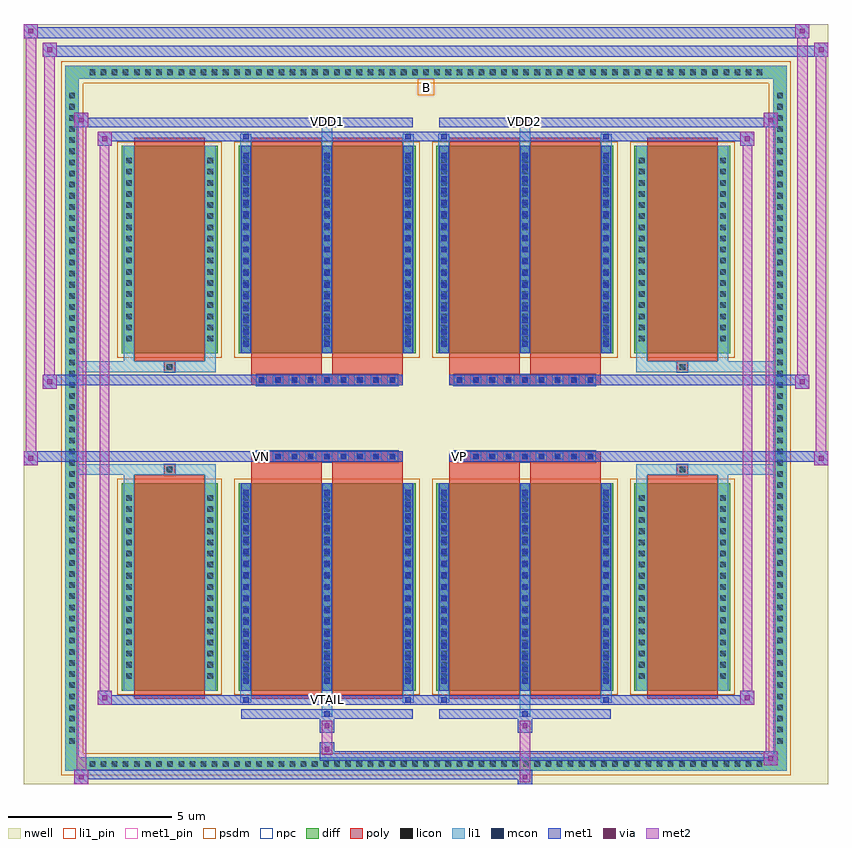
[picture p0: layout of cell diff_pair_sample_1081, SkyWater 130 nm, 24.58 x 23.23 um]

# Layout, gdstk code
import gdstk
lib = gdstk.Library(unit=1e-6, precision=5e-09)
def R(c, l, rs):  # rectangles x0, y0, x1, y1
    for r in rs: c.add(gdstk.rectangle(r[:2], r[2:], *l))
def A(c, l, x, y, w, h, nx, ny, dx, dy):  # array of equal rectangles
    R(c, l, [(x+i*dx, y+j*dy, x+i*dx+w, y+j*dy+h) for i in range(nx) for j in range(ny)])
def P(c, l, *ps):  # polygons
    for p in ps: c.add(gdstk.Polygon(p, *l))
nwell = (64, 20)
diff = (65, 20)
poly = (66, 20)
licon = (66, 44)
li1_pin = (67, 16)
li1 = (67, 20)
mcon = (67, 44)
met1_pin = (68, 16)
met1 = (68, 20)
via = (68, 44)
met2 = (69, 20)
psdm = (94, 20)
npc = (95, 20)

diff_pair_sample_1081 = lib.new_cell('diff_pair_sample_1081')
R(diff_pair_sample_1081, nwell, [(-12.29,-11.18,12.29,12.05), (-9.61,-9.37,-0.01,-0.805), (0.01,-9.37,9.61,-0.805), (-9.61,0.805,-0.01,9.37), (0.01,0.805,9.61,9.37)])
A(diff_pair_sample_1081, diff, -10.405, -10.78, 0.41, 0.41, 61, 2, 0.34, 21.15)
A(diff_pair_sample_1081, diff, -11.02, -10.065, 0.41, 0.41, 1, 59, 0, 0.34)
A(diff_pair_sample_1081, diff, 10.61, -10.065, 0.41, 0.41, 1, 59, 0, 0.34)
R(diff_pair_sample_1081, diff, [(-10.405,-10.78,10.405,-10.37), (-11.02,-10.065,-10.61,10.065), (10.61,-10.065,11.02,10.065), (-9.3,-8.325,-6.37,-1.985), (-5.73,-8.325,-0.32,-1.985), (0.32,-8.325,5.73,-1.985), (6.37,-8.325,9.3,-1.985), (-9.3,1.985,-6.37,8.325), (-5.73,1.985,-0.32,8.325), (0.32,1.985,5.73,8.325), (6.37,1.985,9.3,8.325), (-10.405,10.37,10.405,10.78)])
P(diff_pair_sample_1081, diff, [(11.02,10.78),(-11.02,10.78),(-11.02,-10.37),(-10.61,-10.37),(-10.61,10.37),(10.61,10.37),(10.61,-10.37),(-10.61,-10.37),(-11.02,-10.37),(-11.02,-10.78),(11.02,-10.78)])
A(diff_pair_sample_1081, poly, -5.19, -1.335, 0.33, 0.33, 9, 2, 0.5, 2.34)
A(diff_pair_sample_1081, poly, 0.86, -1.335, 0.33, 0.33, 9, 2, 0.5, 2.34)
R(diff_pair_sample_1081, poly, [(-8.91,-8.575,-6.76,-1.735), (-5.34,-8.575,-3.19,-1.735), (-2.86,-8.575,-0.71,-1.735), (0.71,-8.575,2.86,-1.735), (3.19,-8.575,5.34,-1.735), (6.76,-8.575,8.91,-1.735), (-8,-1.735,-7.67,-1.405), (-8,-1.735,-7.67,-1.405), (-5.34,-1.735,-3.19,-1.335), (-2.86,-1.735,-0.71,-1.335), (0.71,-1.735,2.86,-1.335), (3.19,-1.735,5.34,-1.335), (7.67,-1.735,8,-1.405), (7.67,-1.735,8,-1.405), (-5.34,-1.335,-0.71,-1.005), (0.71,-1.335,5.34,-1.005), (-5.34,1.005,-0.71,1.335), (0.71,1.005,5.34,1.335), (-5.34,1.335,-3.19,1.735), (-2.86,1.335,-0.71,1.735), (0.71,1.335,2.86,1.735), (3.19,1.335,5.34,1.735), (-8,1.405,-7.67,1.735), (-8,1.405,-7.67,1.735), (7.67,1.405,8,1.735), (7.67,1.405,8,1.735), (-8.91,1.735,-6.76,8.575), (-5.34,1.735,-3.19,8.575), (-2.86,1.735,-0.71,8.575), (0.71,1.735,2.86,8.575), (3.19,1.735,5.34,8.575), (6.76,1.735,8.91,8.575)])
A(diff_pair_sample_1081, licon, -10.285, -10.66, 0.17, 0.17, 61, 2, 0.34, 21.15)
A(diff_pair_sample_1081, licon, -10.9, -9.945, 0.17, 0.17, 1, 59, 0, 0.34)
A(diff_pair_sample_1081, licon, 10.73, -9.945, 0.17, 0.17, 1, 59, 0, 0.34)
A(diff_pair_sample_1081, licon, -9.16, -7.96, 0.17, 0.17, 1, 17, 0, 0.34)
A(diff_pair_sample_1081, licon, -6.68, -7.96, 0.17, 0.17, 1, 17, 0, 0.34)
A(diff_pair_sample_1081, licon, -5.59, -7.96, 0.17, 0.17, 3, 17, 2.48, 0.34)
A(diff_pair_sample_1081, licon, 0.46, -7.96, 0.17, 0.17, 3, 17, 2.48, 0.34)
A(diff_pair_sample_1081, licon, 6.51, -7.96, 0.17, 0.17, 1, 17, 0, 0.34)
A(diff_pair_sample_1081, licon, 8.99, -7.96, 0.17, 0.17, 1, 17, 0, 0.34)
A(diff_pair_sample_1081, licon, -5.11, -1.255, 0.17, 0.17, 9, 2, 0.5, 2.34)
A(diff_pair_sample_1081, licon, 0.94, -1.255, 0.17, 0.17, 9, 2, 0.5, 2.34)
A(diff_pair_sample_1081, licon, -9.16, 2.35, 0.17, 0.17, 1, 17, 0, 0.34)
A(diff_pair_sample_1081, licon, -6.68, 2.35, 0.17, 0.17, 1, 17, 0, 0.34)
A(diff_pair_sample_1081, licon, -5.59, 2.35, 0.17, 0.17, 3, 17, 2.48, 0.34)
A(diff_pair_sample_1081, licon, 0.46, 2.35, 0.17, 0.17, 3, 17, 2.48, 0.34)
A(diff_pair_sample_1081, licon, 6.51, 2.35, 0.17, 0.17, 1, 17, 0, 0.34)
A(diff_pair_sample_1081, licon, 8.99, 2.35, 0.17, 0.17, 1, 17, 0, 0.34)
R(diff_pair_sample_1081, licon, [(-7.92,-1.655,-7.75,-1.485), (7.75,-1.655,7.92,-1.485), (-7.92,1.485,-7.75,1.655), (7.75,1.485,7.92,1.655)])
R(diff_pair_sample_1081, li1_pin, [(-0.25,9.87,0.25,10.37)])
A(diff_pair_sample_1081, li1, -10.365, -10.74, 0.33, 0.33, 61, 2, 0.34, 21.15)
A(diff_pair_sample_1081, li1, -10.98, -10.025, 0.33, 0.33, 1, 59, 0, 0.34)
A(diff_pair_sample_1081, li1, 10.65, -10.025, 0.33, 0.33, 1, 59, 0, 0.34)
A(diff_pair_sample_1081, li1, -5.67, -8.325, 0.33, 6.34, 3, 2, 2.48, 10.31)
A(diff_pair_sample_1081, li1, 0.38, -8.325, 0.33, 6.34, 3, 2, 2.48, 10.31)
A(diff_pair_sample_1081, li1, -5.59, -8.12, 0.17, 0.17, 3, 17, 2.48, 0.36)
A(diff_pair_sample_1081, li1, -5.59, -8.12, 0.17, 5.93, 3, 2, 2.48, 10.31)
A(diff_pair_sample_1081, li1, 0.46, -8.12, 0.17, 0.17, 3, 17, 2.48, 0.36)
A(diff_pair_sample_1081, li1, 0.46, -8.12, 0.17, 5.93, 3, 2, 2.48, 10.31)
A(diff_pair_sample_1081, li1, -9.24, -8.04, 0.33, 0.33, 1, 17, 0, 0.34)
A(diff_pair_sample_1081, li1, -6.76, -8.04, 0.33, 0.33, 1, 17, 0, 0.34)
A(diff_pair_sample_1081, li1, -5.67, -8.04, 0.33, 0.33, 3, 17, 2.48, 0.34)
A(diff_pair_sample_1081, li1, 0.38, -8.04, 0.33, 0.33, 3, 17, 2.48, 0.34)
A(diff_pair_sample_1081, li1, 6.43, -8.04, 0.33, 0.33, 1, 17, 0, 0.34)
A(diff_pair_sample_1081, li1, 8.91, -8.04, 0.33, 0.33, 1, 17, 0, 0.34)
A(diff_pair_sample_1081, li1, -5.19, -1.335, 0.33, 0.33, 9, 2, 0.5, 2.34)
A(diff_pair_sample_1081, li1, 0.86, -1.335, 0.33, 0.33, 9, 2, 0.5, 2.34)
A(diff_pair_sample_1081, li1, -5.59, 2.19, 0.17, 0.17, 3, 17, 2.48, 0.36)
A(diff_pair_sample_1081, li1, 0.46, 2.19, 0.17, 0.17, 3, 17, 2.48, 0.36)
A(diff_pair_sample_1081, li1, -9.24, 2.27, 0.33, 0.33, 1, 17, 0, 0.34)
A(diff_pair_sample_1081, li1, -6.76, 2.27, 0.33, 0.33, 1, 17, 0, 0.34)
A(diff_pair_sample_1081, li1, -5.67, 2.27, 0.33, 0.33, 3, 17, 2.48, 0.34)
A(diff_pair_sample_1081, li1, 0.38, 2.27, 0.33, 0.33, 3, 17, 2.48, 0.34)
A(diff_pair_sample_1081, li1, 6.43, 2.27, 0.33, 0.33, 1, 17, 0, 0.34)
A(diff_pair_sample_1081, li1, 8.91, 2.27, 0.33, 0.33, 1, 17, 0, 0.34)
R(diff_pair_sample_1081, li1, [(-11.02,-10.78,-10.61,-10.37), (-11.02,-10.78,-10.61,-10.37), (-10.61,-10.78,10.61,-10.37), (10.61,-10.78,11.02,-10.37), (10.61,-10.78,11.02,-10.37), (-11.02,-10.37,-10.61,10.37), (10.61,-10.37,11.02,10.37), (-3.19,-9.13,-2.86,-8.325), (-3.11,-9.13,-2.94,-8.96), (2.86,-9.13,3.19,-8.325), (2.94,-9.13,3.11,-8.96), (-5.67,-8.7,-5.34,-8.325), (-5.59,-8.7,-5.42,-8.53), (-0.71,-8.7,-0.38,-8.325), (-0.63,-8.7,-0.46,-8.53), (0.38,-8.7,0.71,-8.325), (0.46,-8.7,0.63,-8.53), (5.34,-8.7,5.67,-8.325), (5.42,-8.7,5.59,-8.53), (-9.24,-8.325,-8.91,-1.985), (-6.76,-8.325,-6.43,-1.985), (6.43,-8.325,6.76,-1.985), (8.91,-8.325,9.24,-1.985), (-9.24,-1.985,-8.91,-1.405), (-6.76,-1.985,-6.43,-1.405), (6.43,-1.985,6.76,-1.405), (8.91,-1.985,9.24,-1.405), (-11.02,-1.735,-8,-1.405), (-9.24,-1.735,-8,-1.405), (-8,-1.735,-7.67,-1.405), (-7.67,-1.735,-6.43,-1.405), (6.43,-1.735,7.67,-1.405), (7.67,-1.735,8,-1.405), (7.67,-1.735,11.02,-1.405), (8,-1.735,9.24,-1.405), (-11.02,1.405,-8,1.735), (-9.24,1.405,-8,1.735), (-9.24,1.405,-8.91,1.985), (-8,1.405,-7.67,1.735), (-7.67,1.405,-6.43,1.735), (-6.76,1.405,-6.43,1.985), (6.43,1.405,7.67,1.735), (6.43,1.405,6.76,1.985), (7.67,1.405,8,1.735), (7.67,1.405,11.02,1.735), (8,1.405,9.24,1.735), (8.91,1.405,9.24,1.985), (-9.24,1.985,-8.91,8.325), (-6.76,1.985,-6.43,8.325), (6.43,1.985,6.76,8.325), (8.91,1.985,9.24,8.325), (-5.67,8.325,-5.34,8.7), (-3.19,8.325,-2.86,9.13), (-0.71,8.325,-0.38,8.7), (0.38,8.325,0.71,8.7), (2.86,8.325,3.19,9.13), (5.34,8.325,5.67,8.7), (-5.59,8.53,-5.42,8.7), (-0.63,8.53,-0.46,8.7), (0.46,8.53,0.63,8.7), (5.42,8.53,5.59,8.7), (-3.11,8.96,-2.94,9.13), (2.94,8.96,3.11,9.13), (-11.02,10.37,-10.61,10.78), (-11.02,10.37,-10.61,10.78), (-10.61,10.37,10.61,10.78), (10.61,10.37,11.02,10.78), (10.61,10.37,11.02,10.78)])
A(diff_pair_sample_1081, mcon, -5.59, -8.12, 0.17, 0.17, 3, 17, 2.48, 0.36)
A(diff_pair_sample_1081, mcon, 0.46, -8.12, 0.17, 0.17, 3, 17, 2.48, 0.36)
A(diff_pair_sample_1081, mcon, -5.11, -1.255, 0.17, 0.17, 9, 2, 0.5, 2.34)
A(diff_pair_sample_1081, mcon, 0.94, -1.255, 0.17, 0.17, 9, 2, 0.5, 2.34)
A(diff_pair_sample_1081, mcon, -5.59, 2.19, 0.17, 0.17, 3, 17, 2.48, 0.36)
A(diff_pair_sample_1081, mcon, 0.46, 2.19, 0.17, 0.17, 3, 17, 2.48, 0.36)
R(diff_pair_sample_1081, mcon, [(-3.11,-9.13,-2.94,-8.96), (2.94,-9.13,3.11,-8.96), (-5.59,-8.7,-5.42,-8.53), (-0.63,-8.7,-0.46,-8.53), (0.46,-8.7,0.63,-8.53), (5.42,-8.7,5.59,-8.53), (-5.59,8.53,-5.42,8.7), (-0.63,8.53,-0.46,8.7), (0.46,8.53,0.63,8.7), (5.42,8.53,5.59,8.7), (-3.11,8.96,-2.94,9.13), (2.94,8.96,3.11,9.13)])
R(diff_pair_sample_1081, met1_pin, [(-3.16,-8.74,-2.89,-8.47), (-5.16,-1.295,-4.89,-1.025), (0.89,-1.295,1.16,-1.025), (-3.16,8.92,-2.89,9.19), (2.89,8.92,3.16,9.19)])
A(diff_pair_sample_1081, met1, -5.65, -8.325, 0.29, 6.34, 3, 2, 2.48, 10.31)
A(diff_pair_sample_1081, met1, 0.4, -8.325, 0.29, 6.34, 3, 2, 2.48, 10.31)
A(diff_pair_sample_1081, met1, -5.65, -8.18, 0.29, 0.29, 3, 17, 2.48, 0.36)
A(diff_pair_sample_1081, met1, 0.4, -8.18, 0.29, 0.29, 3, 17, 2.48, 0.36)
A(diff_pair_sample_1081, met1, -5.17, -1.315, 0.29, 0.29, 9, 2, 0.5, 2.34)
A(diff_pair_sample_1081, met1, 0.88, -1.315, 0.29, 0.29, 9, 2, 0.5, 2.34)
A(diff_pair_sample_1081, met1, -5.65, 2.13, 0.29, 0.29, 3, 17, 2.48, 0.36)
A(diff_pair_sample_1081, met1, 0.4, 2.13, 0.29, 0.29, 3, 17, 2.48, 0.36)
R(diff_pair_sample_1081, met1, [(-10.75,-11.18,-10.32,-10.75), (2.81,-11.18,3.24,-10.75), (-10.75,-11.04,3.24,-10.75), (10.32,-10.61,10.75,-10.18), (-3.24,-10.47,10.75,-10.18), (-3.24,-10.33,-2.81,-9.9), (-3.24,-9.62,-2.81,-9.19), (2.81,-9.62,3.24,-9.19), (-5.65,-9.19,-0.4,-8.9), (-3.17,-9.19,-2.88,-8.9), (0.4,-9.19,5.65,-8.9), (2.88,-9.19,3.17,-8.9), (-10.04,-8.76,-9.61,-8.33), (-10.04,-8.76,-5.65,-8.47), (-5.65,-8.76,-5.36,-8.47), (-5.65,-8.76,-0.4,-8.47), (-0.69,-8.76,-0.4,-8.47), (-0.4,-8.76,0.4,-8.47), (0.4,-8.76,0.69,-8.47), (0.4,-8.76,5.65,-8.47), (5.36,-8.76,5.65,-8.47), (5.65,-8.76,10.04,-8.47), (9.61,-8.76,10.04,-8.33), (-12.29,-1.435,-11.86,-1.005), (11.86,-1.435,12.29,-1.005), (-12.29,-1.335,-0.71,-1.005), (-5.34,-1.335,-0.71,-1.005), (0.71,-1.335,5.34,-1.005), (0.71,-1.335,12.29,-1.005), (-11.72,0.905,-11.29,1.335), (11.29,0.905,11.72,1.335), (-11.72,1.005,-5.34,1.335), (-5.34,1.005,-0.71,1.335), (0.71,1.005,5.34,1.335), (5.34,1.005,11.72,1.335), (-10.04,8.33,-9.61,8.76), (9.61,8.33,10.04,8.76), (-10.04,8.47,-5.65,8.76), (-5.65,8.47,-5.36,8.76), (-5.65,8.47,-0.4,8.76), (-0.69,8.47,-0.4,8.76), (-0.4,8.47,0.4,8.76), (0.4,8.47,0.69,8.76), (0.4,8.47,5.65,8.76), (5.36,8.47,5.65,8.76), (5.65,8.47,10.04,8.76), (-10.75,8.9,-10.32,9.33), (-10.75,8.9,-5.65,9.19), (-5.65,8.9,-0.4,9.19), (-3.17,8.9,-2.88,9.19), (0.4,8.9,5.65,9.19), (2.88,8.9,3.17,9.19), (5.65,8.9,10.75,9.19), (10.32,8.9,10.75,9.33), (-11.72,11.05,-11.29,11.48), (-11.72,11.05,-9.61,11.38), (-9.61,11.05,9.61,11.38), (9.61,11.05,12.29,11.38), (11.86,11.05,12.29,11.48), (-12.29,11.62,-11.86,12.05), (-12.29,11.62,-9.61,11.95), (-9.61,11.62,9.61,11.95), (9.61,11.62,11.72,11.95), (11.29,11.62,11.72,12.05)])
R(diff_pair_sample_1081, via, [(-10.61,-11.04,-10.46,-10.89), (2.95,-11.04,3.1,-10.89), (10.46,-10.47,10.61,-10.32), (-3.1,-10.19,-2.95,-10.04), (-3.1,-9.48,-2.95,-9.33), (2.95,-9.48,3.1,-9.33), (-9.9,-8.62,-9.75,-8.47), (9.75,-8.62,9.9,-8.47), (-12.15,-1.295,-12,-1.145), (12,-1.295,12.15,-1.145), (-11.58,1.045,-11.43,1.195), (11.43,1.045,11.58,1.195), (-9.9,8.47,-9.75,8.62), (9.75,8.47,9.9,8.62), (-10.61,9.04,-10.46,9.19), (10.46,9.04,10.61,9.19), (-11.58,11.19,-11.43,11.34), (12,11.19,12.15,11.34), (-12.15,11.76,-12,11.91), (11.43,11.76,11.58,11.91)])
R(diff_pair_sample_1081, met2, [(-10.75,-11.18,-10.32,-10.75), (-10.68,-11.18,-10.39,9.33), (-10.39,-11.18,-10.32,-10.75), (-10.7,-11.13,-10.37,-10.8), (2.86,-11.13,3.19,-10.8), (2.86,-10.8,3.19,-9.57), (10.32,-10.61,10.75,-10.18), (10.39,-10.61,10.68,9.33), (10.68,-10.61,10.75,-10.18), (10.37,-10.56,10.7,-10.23), (-3.19,-10.28,-2.86,-9.95), (-3.19,-9.95,-2.86,-9.57), (-3.19,-9.57,-2.86,-9.24), (2.86,-9.57,3.19,-9.24), (-10.04,-8.76,-9.61,-8.33), (-9.97,-8.76,-9.68,8.76), (-9.68,-8.76,-9.61,-8.33), (9.61,-8.76,10.04,-8.33), (9.68,-8.76,9.97,8.76), (9.97,-8.76,10.04,-8.33), (-9.99,-8.71,-9.66,-8.38), (9.66,-8.71,9.99,-8.38), (-12.29,-1.435,-11.86,-1.005), (-12.24,-1.435,-11.91,12.05), (-11.91,-1.435,-11.86,-1.005), (11.86,-1.435,12.29,-1.005), (11.91,-1.435,12.24,11.48), (12.24,-1.435,12.29,-1.005), (-12.24,-1.385,-11.91,-1.055), (11.91,-1.385,12.24,-1.055), (-11.72,0.905,-11.29,1.335), (-11.67,0.905,-11.34,11.48), (-11.34,0.905,-11.29,1.335), (11.29,0.905,11.72,1.335), (11.34,0.905,11.67,12.05), (11.67,0.905,11.72,1.335), (-11.67,0.955,-11.34,1.285), (11.34,0.955,11.67,1.285), (-10.04,8.33,-9.61,8.76), (-9.68,8.33,-9.61,8.76), (9.61,8.33,10.04,8.76), (9.97,8.33,10.04,8.76), (-9.99,8.38,-9.66,8.71), (9.66,8.38,9.99,8.71), (-10.75,8.9,-10.32,9.33), (-10.39,8.9,-10.32,9.33), (10.32,8.9,10.75,9.33), (10.68,8.9,10.75,9.33), (-10.7,8.95,-10.37,9.28), (10.37,8.95,10.7,9.28), (-11.72,11.05,-11.29,11.48), (-11.34,11.05,-11.29,11.48), (11.86,11.05,12.29,11.48), (12.24,11.05,12.29,11.48), (-11.67,11.1,-11.34,11.43), (11.91,11.1,12.24,11.43), (-12.29,11.62,-11.86,12.05), (-11.91,11.62,-11.86,12.05), (11.29,11.62,11.72,12.05), (11.67,11.62,11.72,12.05), (-12.24,11.67,-11.91,12), (11.34,11.67,11.67,12)])
R(diff_pair_sample_1081, psdm, [(-9.43,-8.455,-6.24,-1.855), (-5.86,-8.455,-0.19,-1.855), (0.19,-8.455,5.86,-1.855), (6.24,-8.455,9.43,-1.855), (-9.43,1.855,-6.24,8.455), (-5.86,1.855,-0.19,8.455), (0.19,1.855,5.86,8.455), (6.24,1.855,9.43,8.455)])
P(diff_pair_sample_1081, psdm, [(11.15,10.91),(-11.15,10.91),(-11.15,-10.24),(-10.48,-10.24),(-10.48,10.24),(10.48,10.24),(10.48,-10.24),(-10.48,-10.24),(-11.15,-10.24),(-11.15,-10.91),(11.15,-10.91)])
A(diff_pair_sample_1081, npc, -5.21, -1.355, 0.37, 0.37, 9, 2, 0.5, 2.34)
A(diff_pair_sample_1081, npc, 0.84, -1.355, 0.37, 0.37, 9, 2, 0.5, 2.34)
R(diff_pair_sample_1081, npc, [(-8.02,-1.755,-7.65,-1.385), (7.65,-1.755,8.02,-1.385), (-5.21,-1.355,-4.34,-0.985), (-5.21,-1.355,-4.34,-0.985), (-4.71,-1.355,-3.84,-0.985), (-4.71,-1.355,-3.84,-0.985), (-4.21,-1.355,-3.34,-0.985), (-4.21,-1.355,-3.34,-0.985), (-3.71,-1.355,-2.84,-0.985), (-3.71,-1.355,-2.84,-0.985), (-3.21,-1.355,-2.34,-0.985), (-3.21,-1.355,-2.34,-0.985), (-2.71,-1.355,-1.84,-0.985), (-2.71,-1.355,-1.84,-0.985), (-2.21,-1.355,-1.34,-0.985), (-2.21,-1.355,-1.34,-0.985), (-1.71,-1.355,-0.84,-0.985), (-1.71,-1.355,-0.84,-0.985), (0.84,-1.355,1.71,-0.985), (0.84,-1.355,1.71,-0.985), (1.34,-1.355,2.21,-0.985), (1.34,-1.355,2.21,-0.985), (1.84,-1.355,2.71,-0.985), (1.84,-1.355,2.71,-0.985), (2.34,-1.355,3.21,-0.985), (2.34,-1.355,3.21,-0.985), (2.84,-1.355,3.71,-0.985), (2.84,-1.355,3.71,-0.985), (3.34,-1.355,4.21,-0.985), (3.34,-1.355,4.21,-0.985), (3.84,-1.355,4.71,-0.985), (3.84,-1.355,4.71,-0.985), (4.34,-1.355,5.21,-0.985), (4.34,-1.355,5.21,-0.985), (-5.21,0.985,-4.34,1.355), (-5.21,0.985,-4.34,1.355), (-4.71,0.985,-3.84,1.355), (-4.71,0.985,-3.84,1.355), (-4.21,0.985,-3.34,1.355), (-4.21,0.985,-3.34,1.355), (-3.71,0.985,-2.84,1.355), (-3.71,0.985,-2.84,1.355), (-3.21,0.985,-2.34,1.355), (-3.21,0.985,-2.34,1.355), (-2.71,0.985,-1.84,1.355), (-2.71,0.985,-1.84,1.355), (-2.21,0.985,-1.34,1.355), (-2.21,0.985,-1.34,1.355), (-1.71,0.985,-0.84,1.355), (-1.71,0.985,-0.84,1.355), (0.84,0.985,1.71,1.355), (0.84,0.985,1.71,1.355), (1.34,0.985,2.21,1.355), (1.34,0.985,2.21,1.355), (1.84,0.985,2.71,1.355), (1.84,0.985,2.71,1.355), (2.34,0.985,3.21,1.355), (2.34,0.985,3.21,1.355), (2.84,0.985,3.71,1.355), (2.84,0.985,3.71,1.355), (3.34,0.985,4.21,1.355), (3.34,0.985,4.21,1.355), (3.84,0.985,4.71,1.355), (3.84,0.985,4.71,1.355), (4.34,0.985,5.21,1.355), (4.34,0.985,5.21,1.355), (-8.02,1.385,-7.65,1.755), (7.65,1.385,8.02,1.755)])
diff_pair_sample_1081.add(gdstk.Label('VTAIL', (-3.025,-8.605), layer=68, texttype=5))
diff_pair_sample_1081.add(gdstk.Label('VN', (-5.025,-1.16), layer=68, texttype=5))
diff_pair_sample_1081.add(gdstk.Label('VP', (1.025,-1.16), layer=68, texttype=5))
diff_pair_sample_1081.add(gdstk.Label('B', (0,10.12), layer=67, texttype=5))
diff_pair_sample_1081.add(gdstk.Label('VDD2', (3.025,9.055), layer=68, texttype=5))
diff_pair_sample_1081.add(gdstk.Label('VDD1', (-3.025,9.055), layer=68, texttype=5))

lib.write_gds('diff_pair_sample_1081.gds')
